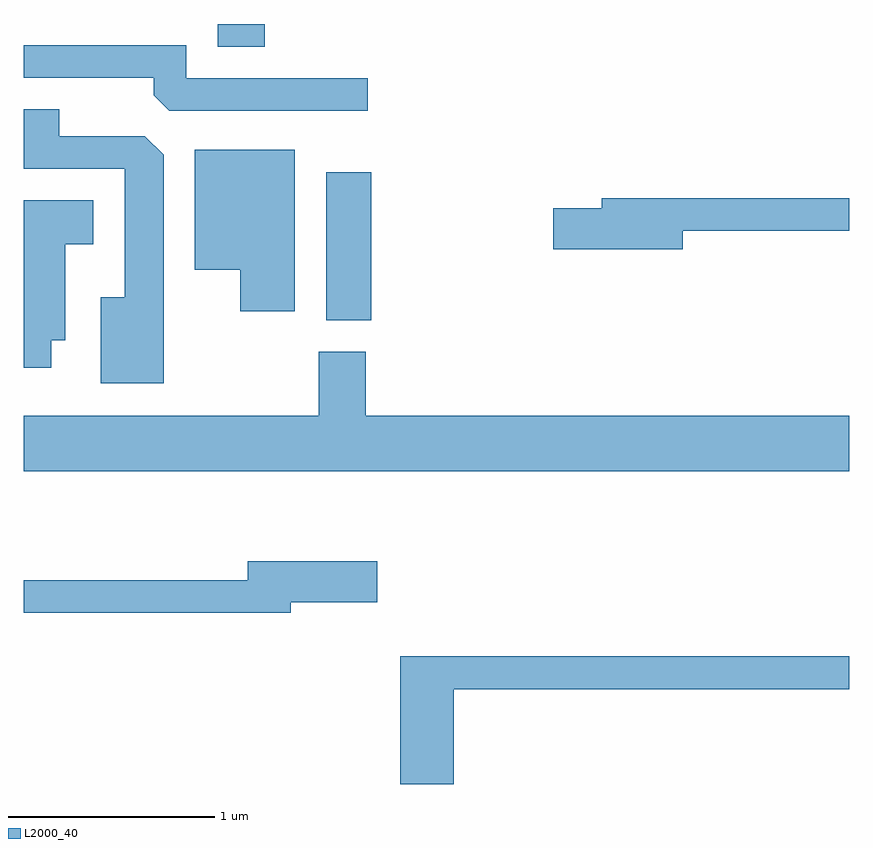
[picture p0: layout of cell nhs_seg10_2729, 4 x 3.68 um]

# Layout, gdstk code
import gdstk
lib = gdstk.Library(unit=1e-6, precision=1e-09)
def R(c, l, rs):  # rectangles x0, y0, x1, y1
    for r in rs: c.add(gdstk.rectangle(r[:2], r[2:], *l))
def P(c, l, *ps):  # polygons
    for p in ps: c.add(gdstk.Polygon(p, *l))
L2000_40 = (2000, 40)

nhs_seg10_2729 = lib.new_cell('nhs_seg10_2729')
R(nhs_seg10_2729, L2000_40, [(267.076,2119.086,267.294,2119.804), (266.551,2120.411,266.779,2120.522)])
P(nhs_seg10_2729, L2000_40, [(267.278,2120.259),(266.399,2120.259),(266.399,2120.419),(265.611,2120.419),(265.611,2120.261),(266.241,2120.261),(266.241,2120.177),(266.317,2120.101),(267.278,2120.101)],
  [(266.289,2119.889),(266.199,2119.979),(265.784,2119.979),(265.784,2120.109),(265.611,2120.109),(265.611,2119.821),(266.101,2119.821),(266.101,2119.199),(265.986,2119.199),(265.986,2118.781),(266.289,2118.781)],
  [(266.924,2119.914),(266.441,2119.914),(266.441,2119.331),(266.661,2119.331),(266.661,2119.131),(266.924,2119.131)],
  [(268.804,2119.521),(269.611,2119.521),(269.611,2119.679),(268.411,2119.679),(268.411,2119.629),(268.176,2119.629),(268.176,2119.431),(268.804,2119.431)],
  [(265.744,2118.991),(265.814,2118.991),(265.814,2119.456),(265.949,2119.456),(265.949,2119.669),(265.611,2119.669),(265.611,2118.856),(265.744,2118.856)],
  [(269.611,2118.624),(267.269,2118.624),(267.269,2118.934),(267.041,2118.934),(267.041,2118.624),(265.611,2118.624),(265.611,2118.356),(269.611,2118.356)],
  [(266.904,2117.721),(267.324,2117.721),(267.324,2117.919),(266.696,2117.919),(266.696,2117.829),(265.611,2117.829),(265.611,2117.671),(266.904,2117.671)],
  [(267.694,2117.301),(269.611,2117.301),(269.611,2117.459),(267.436,2117.459),(267.436,2116.841),(267.694,2116.841)])

lib.write_gds('nhs_seg10_2729.gds')
